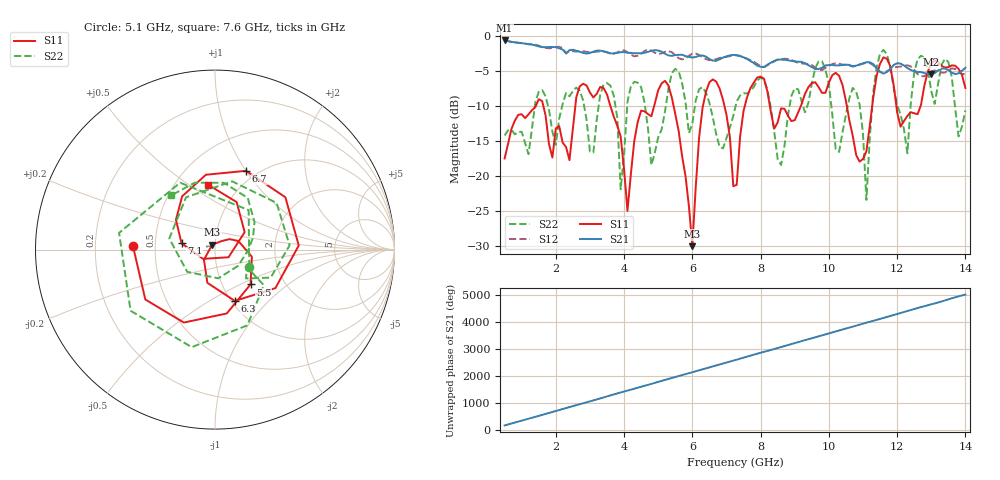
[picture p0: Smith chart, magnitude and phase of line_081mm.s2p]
!Created with skrf (http://scikit-rf.org).
# GHz S RI R 50.0
!freq ReS11 ImS11 ReS21 ImS21 ReS12 ImS12 ReS22 ImS22
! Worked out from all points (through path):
!   136 points, 500 MHz to 14 GHz, reference 50 ohm
!   highest |S21| = -0.67 dB at 500 MHz (marker M1); lowest = -5.5 dB at 13 GHz (marker M2)
!   lowest |S11| = -30.0 dB at 6 GHz (marker M3), VSWR 1.07, Z = 48.4 + j2.66 ohm
!   |S11| at or under -10 dB: start of sweep to 1.416 GHz; 1.634 GHz to 2.573 GHz (939 MHz wide, 44.6 % of centre); 3.599 GHz to 4.882 GHz (1.284 GHz wide, 30.3 % of centre)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
!   |S22| runs from -23.4 to -2.0 dB; largest |S21 - S12| = 0.058
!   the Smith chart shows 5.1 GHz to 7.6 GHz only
!   S11 on the Smith chart (normalised r, x): 5.1 GHz: 0.37, +0.02; 5.5 GHz: 1.36, -0.57; 6.3 GHz: 1.04, -0.66; 6.7 GHz: 0.89, +1.00; 7.1 GHz: 0.68, +0.05; 7.6 GHz: 0.72, +0.60
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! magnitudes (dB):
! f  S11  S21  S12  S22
! 500 MHz  -17.5  -0.7  -0.7  -14.2
! 2.8 GHz  -6.8  -2.4  -2.2  -9.2
! 3.6 GHz  -10.0  -2.5  -2.5  -7.1
! 3.9 GHz  -14.4  -2.3  -2.1  -21.9
! 4.1 GHz  -25.0  -2.4  -2.3  -9.4
! 5 GHz  -7.7  -2.1  -2.6  -14.5
! 5.1 GHz  -6.8  -2.3  -2.5  -13.4
! 5.5 GHz  -11.1  -2.8  -2.7  -4.7
! 6 GHz  -30.0  -3.1  -2.6  -12.6
! 6.3 GHz  -10.3  -2.8  -3.0  -7.3
! 6.7 GHz  -6.5  -3.6  -3.3  -14.1
! 7.1 GHz  -14.4  -2.8  -2.9  -13.1
! 7.3 GHz  -21.2  -2.8  -2.8  -9.3
! 7.6 GHz  -8.8  -3.3  -3.3  -8.2
! 8.6 GHz  -10.3  -3.4  -3.3  -18.4
! 9.5 GHz  -6.8  -4.5  -4.2  -6.9
! 10.8 GHz  -17.0  -4.3  -4.3  -8.0
! 11.1 GHz  -16.4  -3.8  -3.8  -23.4
! 11.8 GHz  -4.3  -4.7  -4.8  -4.5
! 12.3 GHz  -11.4  -4.6  -4.2  -16.7
! 13 GHz  -3.9  -5.5  -5.1  -7.9
! 14 GHz  -7.5  -4.6  -5.4  -10.6
